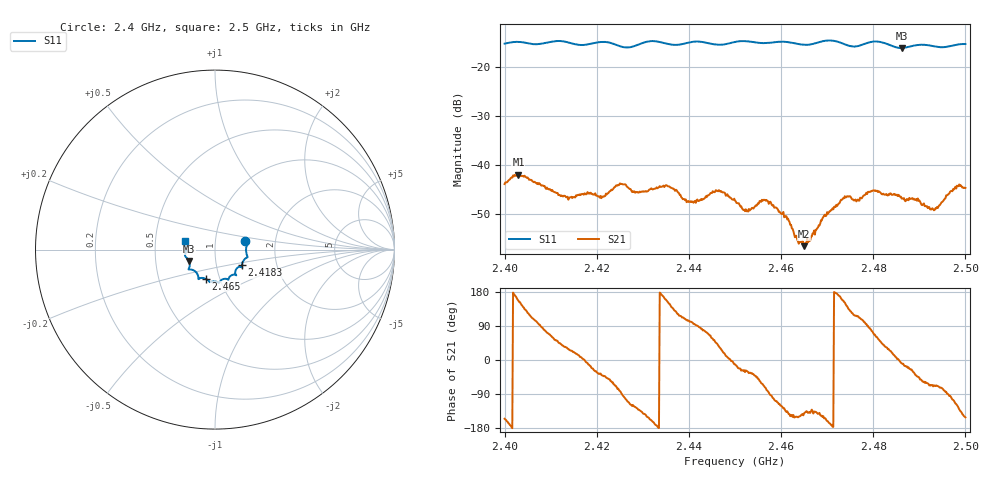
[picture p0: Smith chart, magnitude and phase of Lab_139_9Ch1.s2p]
# Hz S RI R 50
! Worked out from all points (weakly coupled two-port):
!   601 points, 2.4 GHz to 2.5 GHz, reference 50 ohm
!   highest |S21| = -41.91 dB at 2.403 GHz (marker M1); lowest = -56.6 dB at 2.465 GHz (marker M2)
!   lowest |S11| = -16.0 dB at 2.4862 GHz (marker M3), VSWR 1.38, Z = 37.1 - j4.84 ohm
!   |S11| at or under -10 dB: start of sweep to end of sweep
!   S12 and S22 are empty: the file has one direction only
!   S11 on the Smith chart (normalised r, x): 2.4 GHz: 1.40, +0.13; 2.4183 GHz: 1.33, -0.24; 2.465 GHz: 0.86, -0.29; 2.5 GHz: 0.71, +0.07
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2.4e9  0.1691 0.0456  -0.00582 -0.00271  0 0  0 0
2.403e9  0.1797 0.0324  -0.00736 0.00322  0 0  0 0
2.412167e9  0.1813 -0.0423  0.00357 0.00326  0 0  0 0
2.416667e9  0.1551 -0.0686  0.00502 0.000598  0 0  0 0
2.418333e9  0.15 -0.087  0.00509 -0.00115  0 0  0 0
2.421167e9  0.1521 -0.1004  0.00362 -0.00312  0 0  0 0
2.4255e9  0.1296 -0.098  -0.000116 -0.00643  0 0  0 0
2.4285e9  0.1129 -0.1239  -0.00307 -0.00436  0 0  0 0
2.433333e9  0.1169 -0.1414  -0.00588 -0.000152  0 0  0 0
2.44e9  0.0756 -0.1633  -0.00097 0.00409  0 0  0 0
2.446333e9  0.0499 -0.1634  0.00422 0.00339  0 0  0 0
2.45e9  0.0253 -0.1808  0.00427 -0.000862  0 0  0 0
2.452333e9  0.0204 -0.1845  0.00314 -0.00164  0 0  0 0
2.457333e9  -0.0127 -0.1778  0.000289 -0.00402  0 0  0 0
2.465e9  -0.0526 -0.1621  -0.00115 -0.000946  0 0  0 0
2.466667e9  -0.0713 -0.1577  -0.00123 -0.00141  0 0  0 0
2.473833e9  -0.0948 -0.144  -0.00424 0.00229  0 0  0 0
2.483333e9  -0.1421 -0.096  0.00442 0.00245  0 0  0 0
2.486167e9  -0.1447 -0.0636  0.00452 -0.000675  0 0  0 0
2.492833e9  -0.1642 -0.0207  0.00147 -0.00332  0 0  0 0
2.498167e9  -0.1669 0.037  -0.00303 -0.00539  0 0  0 0
2.5e9  -0.167 0.0473  -0.00514 -0.00282  0 0  0 0
